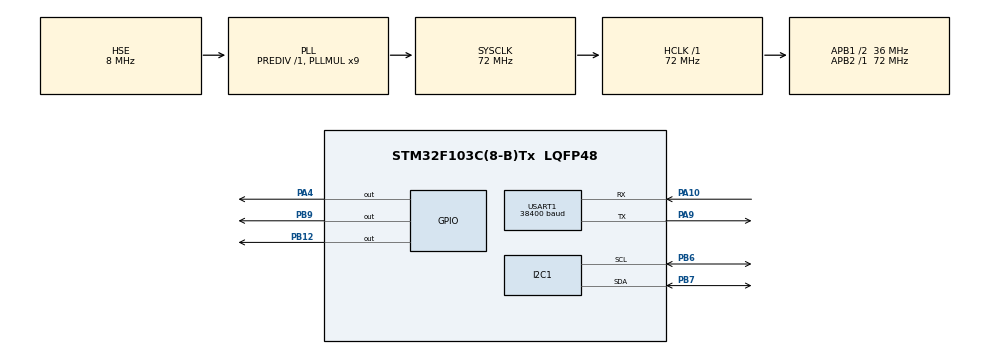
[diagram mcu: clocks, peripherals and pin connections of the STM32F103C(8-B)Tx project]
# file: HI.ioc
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I2C1.I2C_Mode=I2C_Fast
Mcu.Family=STM32F1
Mcu.Name=STM32F103C(8-B)Tx
Mcu.Package=LQFP48
NVIC.PriorityGroup=NVIC_PRIORITYGROUP_4
NVIC.USART1_IRQn=true\:0\:0\:false\:false\:true\:true\:true\:true
PA10.Mode=Asynchronous
PA10.Signal=USART1_RX
PA13.Mode=Serial_Wire
PA13.Signal=SYS_JTMS-SWDIO
PA14.Mode=Serial_Wire
PA14.Signal=SYS_JTCK-SWCLK
PA4.Signal=GPIO_Output
PA9.Mode=Asynchronous
PA9.Signal=USART1_TX
PB12.Signal=GPIO_Output
PB6.Mode=I2C
PB6.Signal=I2C1_SCL
PB7.Mode=I2C
PB7.Signal=I2C1_SDA
PB9.Signal=GPIO_Output
PD0-OSC_IN.Mode=HSE-External-Oscillator
PD0-OSC_IN.Signal=RCC_OSC_IN
PD1-OSC_OUT.Mode=HSE-External-Oscillator
PD1-OSC_OUT.Signal=RCC_OSC_OUT
ProjectManager.HeapSize=0x200
ProjectManager.StackSize=0x400
ProjectManager.TargetToolchain=MDK-ARM V5.32
RCC.AHBFreq_Value=72000000
RCC.APB1CLKDivider=RCC_HCLK_DIV2
RCC.APB1Freq_Value=36000000
RCC.APB1TimFreq_Value=72000000
RCC.APB2Freq_Value=72000000
RCC.APB2TimFreq_Value=72000000
RCC.HCLKFreq_Value=72000000
RCC.PLLMUL=RCC_PLL_MUL9
RCC.PLLSourceVirtual=RCC_PLLSOURCE_HSE
RCC.SYSCLKFreq_VALUE=72000000
RCC.SYSCLKSource=RCC_SYSCLKSOURCE_PLLCLK
RCC.USBFreq_Value=72000000
TIM1.Prescaler=71
USART1.BaudRate=38400
USART1.VirtualMode=VM_ASYNC
VP_TIM1_VS_ClockSourceINT.Mode=Internal
board=custom

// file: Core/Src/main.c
/* USER CODE BEGIN Header */
/**
  ******************************************************************************
  * @file           : main.c
  * @brief          : Main program body
  ******************************************************************************
  * @attention
  *
  * Copyright (c) 2024 STMicroelectronics.
  * All rights reserved.
  *
  * This software is licensed under terms that can be found in the LICENSE file
  * in the root directory of this software component.
  * If no LICENSE file comes with this software, it is provided AS-IS.
  *
  ******************************************************************************
  */
/* USER CODE END Header */
#include "main.h"

/* USER CODE BEGIN Includes */
#include "fonts.h"
#include "ssd1306.h"
#include "stdio.h"
#include "logo.h"
/* USER CODE END Includes */

I2C_HandleTypeDef hi2c1;

TIM_HandleTypeDef htim1;

UART_HandleTypeDef huart1;

void SystemClock_Config(void);
static void MX_GPIO_Init(void);
static void MX_I2C1_Init(void);
static void MX_TIM1_Init(void);
static void MX_USART1_UART_Init(void);

/* USER CODE BEGIN 0 */
#define DHT11_PORT GPIOA
#define DHT11_PIN GPIO_PIN_4
float nhietdo,doam;
uint8_t RHI, RHD, TCI, TCD, SUM;
uint32_t pMillis, cMillis;
float tCelsius = 0;
float tFahrenheit = 0;
float RH = 0;
uint8_t TFI = 0;
uint8_t TFD = 0;
char strCopy[15];

void microDelay (uint16_t delay)
{
  __HAL_TIM_SET_COUNTER(&htim1, 0);
  while (__HAL_TIM_GET_COUNTER(&htim1) < delay);
}

uint8_t DHT11_Start (void)
{
  uint8_t Response = 0;
  GPIO_InitTypeDef GPIO_InitStructPrivate = {0};
  GPIO_InitStructPrivate.Pin = DHT11_PIN;
  GPIO_InitStructPrivate.Mode = GPIO_MODE_OUTPUT_PP;
  GPIO_InitStructPrivate.Speed = GPIO_SPEED_FREQ_LOW;
  GPIO_InitStructPrivate.Pull = GPIO_NOPULL;
  HAL_GPIO_Init(DHT11_PORT, &GPIO_InitStructPrivate); // set the pin as output
  HAL_GPIO_WritePin (DHT11_PORT, DHT11_PIN, 0);   // pull the pin low
  HAL_Delay(20);   // wait for 20ms
  HAL_GPIO_WritePin (DHT11_PORT, DHT11_PIN, 1);   // pull the pin high
  microDelay (30);   // wait for 30us
  GPIO_InitStructPrivate.Mode = GPIO_MODE_INPUT;
  GPIO_InitStructPrivate.Pull = GPIO_PULLUP;
  HAL_GPIO_Init(DHT11_PORT, &GPIO_InitStructPrivate); // set the pin as input
  microDelay (40);
  if (!(HAL_GPIO_ReadPin (DHT11_PORT, DHT11_PIN)))
  {
    microDelay (80);
    if ((HAL_GPIO_ReadPin (DHT11_PORT, DHT11_PIN))) Response = 1;
  }
  pMillis = HAL_GetTick();
  cMillis = HAL_GetTick();
  while ((HAL_GPIO_ReadPin (DHT11_PORT, DHT11_PIN)) && pMillis + 2 > cMillis)
  {
    cMillis = HAL_GetTick();
  }
  return Response;
}

uint8_t DHT11_Read (void)
{
  uint8_t a,b;
  for (a=0;a<8;a++)
  {
    pMillis = HAL_GetTick();
    cMillis = HAL_GetTick();
    while (!(HAL_GPIO_ReadPin (DHT11_PORT, DHT11_PIN)) && pMillis + 2 > cMillis)
    {  // wait for the pin to go high
      cMillis = HAL_GetTick();
    }
    microDelay (40);   // wait for 40 us
    if (!(HAL_GPIO_ReadPin (DHT11_PORT, DHT11_PIN)))   // if the pin is low
      b&= ~(1<<(7-a));
    else
      b|= (1<<(7-a));
    pMillis = HAL_GetTick();
    cMillis = HAL_GetTick();
    while ((HAL_GPIO_ReadPin (DHT11_PORT, DHT11_PIN)) && pMillis + 2 > cMillis)
    {  // wait for the pin to go low
      cMillis = HAL_GetTick();
    }
  }
  return b;
}

void guidulieu() {
	float nhietdo = (float)TCI + (float)(TCD/10.0);
	float doam = (float)RHI + (float)(RHD/10.0);
	float temperature = nhietdo,  humidity = doam ;
    char buff_tx[50];  // T?o b? d?m d? l?n
    int len = snprintf(buff_tx, sizeof(buff_tx), "Temp: %.2f°C, Hum: %.2f%%\r\n", temperature, humidity);

    // gui chuoi qua uart
    HAL_UART_Transmit(&huart1, (uint8_t*)buff_tx, len, HAL_MAX_DELAY);
}

void inraoled()
{
	if(DHT11_Start())
    {
      RHI = DHT11_Read(); // Relative humidity integral
      RHD = DHT11_Read(); // Relative humidity decimal
      TCI = DHT11_Read(); // Celsius integral
      TCD = DHT11_Read(); // Celsius decimal
      SUM = DHT11_Read(); // Check sum
      if (RHI + RHD + TCI + TCD == SUM)
      {
				float nhietdo = (float)TCI + (float)(TCD/10.0);
				float doam = (float)RHI + (float)(RHD/10.0);

        sprintf(strCopy,"Temp: %.2f C   ", nhietdo);
        SSD1306_GotoXY (20, 0);
      SSD1306_Puts (strCopy, &Font_7x10, 1);

       sprintf(strCopy,"Humi: %.2f %%  ", doam);
        SSD1306_GotoXY (20, 20);
        SSD1306_Puts (strCopy, &Font_7x10, 1);
				SSD1306_DrawBitmap(0,35 , logo,128,64,1);

        SSD1306_UpdateScreen();
      }
    }

    HAL_Delay(2000);
}
/* USER CODE END 0 */

int main(void)
{

  /* MCU Configuration--------------------------------------------------------*/

  /* Reset of all peripherals, Initializes the Flash interface and the Systick. */
  HAL_Init();

  /* Configure the system clock */
  SystemClock_Config();

  /* Initialize all configured peripherals */
  MX_GPIO_Init();
  MX_I2C1_Init();
  MX_TIM1_Init();
  MX_USART1_UART_Init();
  /* USER CODE BEGIN 2 */
 HAL_TIM_Base_Start(&htim1);
  SSD1306_Init();
  /* USER CODE END 2 */

  /* Infinite loop */
  /* USER CODE BEGIN WHILE */
  while (1)
  {
		inraoled();
		guidulieu();
    /* USER CODE END WHILE */

  }
}

void SystemClock_Config(void)
{
  RCC_OscInitTypeDef RCC_OscInitStruct = {0};
  RCC_ClkInitTypeDef RCC_ClkInitStruct = {0};

  /** Initializes the RCC Oscillators according to the specified parameters
  * in the RCC_OscInitTypeDef structure.
  */
  RCC_OscInitStruct.OscillatorType = RCC_OSCILLATORTYPE_HSE;
  RCC_OscInitStruct.HSEState = RCC_HSE_ON;
  RCC_OscInitStruct.HSEPredivValue = RCC_HSE_PREDIV_DIV1;
  RCC_OscInitStruct.HSIState = RCC_HSI_ON;
  RCC_OscInitStruct.PLL.PLLState = RCC_PLL_ON;
  RCC_OscInitStruct.PLL.PLLSource = RCC_PLLSOURCE_HSE;
  RCC_OscInitStruct.PLL.PLLMUL = RCC_PLL_MUL9;
  if (HAL_RCC_OscConfig(&RCC_OscInitStruct) != HAL_OK)
  {
    Error_Handler();
  }

  /** Initializes the CPU, AHB and APB buses clocks
  */
  RCC_ClkInitStruct.ClockType = RCC_CLOCKTYPE_HCLK|RCC_CLOCKTYPE_SYSCLK
                              |RCC_CLOCKTYPE_PCLK1|RCC_CLOCKTYPE_PCLK2;
  RCC_ClkInitStruct.SYSCLKSource = RCC_SYSCLKSOURCE_PLLCLK;
  RCC_ClkInitStruct.AHBCLKDivider = RCC_SYSCLK_DIV1;
  RCC_ClkInitStruct.APB1CLKDivider = RCC_HCLK_DIV2;
  RCC_ClkInitStruct.APB2CLKDivider = RCC_HCLK_DIV1;

  if (HAL_RCC_ClockConfig(&RCC_ClkInitStruct, FLASH_LATENCY_2) != HAL_OK)
  {
    Error_Handler();
  }
}

static void MX_I2C1_Init(void)
{

  hi2c1.Instance = I2C1;
  hi2c1.Init.ClockSpeed = 400000;
  hi2c1.Init.DutyCycle = I2C_DUTYCYCLE_2;
  hi2c1.Init.OwnAddress1 = 0;
  hi2c1.Init.AddressingMode = I2C_ADDRESSINGMODE_7BIT;
  hi2c1.Init.DualAddressMode = I2C_DUALADDRESS_DISABLE;
  hi2c1.Init.OwnAddress2 = 0;
  hi2c1.Init.GeneralCallMode = I2C_GENERALCALL_DISABLE;
  hi2c1.Init.NoStretchMode = I2C_NOSTRETCH_DISABLE;
  if (HAL_I2C_Init(&hi2c1) != HAL_OK)
  {
    Error_Handler();
  }

}

static void MX_TIM1_Init(void)
{

  TIM_ClockConfigTypeDef sClockSourceConfig = {0};
  TIM_MasterConfigTypeDef sMasterConfig = {0};

  htim1.Instance = TIM1;
  htim1.Init.Prescaler = 71;
  htim1.Init.CounterMode = TIM_COUNTERMODE_UP;
  htim1.Init.Period = 65535;
  htim1.Init.ClockDivision = TIM_CLOCKDIVISION_DIV1;
  htim1.Init.RepetitionCounter = 0;
  htim1.Init.AutoReloadPreload = TIM_AUTORELOAD_PRELOAD_DISABLE;
  if (HAL_TIM_Base_Init(&htim1) != HAL_OK)
  {
    Error_Handler();
  }
  sClockSourceConfig.ClockSource = TIM_CLOCKSOURCE_INTERNAL;
  if (HAL_TIM_ConfigClockSource(&htim1, &sClockSourceConfig) != HAL_OK)
  {
    Error_Handler();
  }
  sMasterConfig.MasterOutputTrigger = TIM_TRGO_RESET;
  sMasterConfig.MasterSlaveMode = TIM_MASTERSLAVEMODE_DISABLE;
  if (HAL_TIMEx_MasterConfigSynchronization(&htim1, &sMasterConfig) != HAL_OK)
  {
    Error_Handler();
  }

}

static void MX_USART1_UART_Init(void)
{

  huart1.Instance = USART1;
  huart1.Init.BaudRate = 38400;
  huart1.Init.WordLength = UART_WORDLENGTH_8B;
  huart1.Init.StopBits = UART_STOPBITS_1;
  huart1.Init.Parity = UART_PARITY_NONE;
  huart1.Init.Mode = UART_MODE_TX_RX;
  huart1.Init.HwFlowCtl = UART_HWCONTROL_NONE;
  huart1.Init.OverSampling = UART_OVERSAMPLING_16;
  if (HAL_UART_Init(&huart1) != HAL_OK)
  {
    Error_Handler();
  }

}

static void MX_GPIO_Init(void)
{
  GPIO_InitTypeDef GPIO_InitStruct = {0};

  /* GPIO Ports Clock Enable */
  __HAL_RCC_GPIOD_CLK_ENABLE();
  __HAL_RCC_GPIOA_CLK_ENABLE();
  __HAL_RCC_GPIOB_CLK_ENABLE();

  /*Configure GPIO pin Output Level */
  HAL_GPIO_WritePin(GPIOA, GPIO_PIN_4, GPIO_PIN_RESET);

  /*Configure GPIO pin Output Level */
  HAL_GPIO_WritePin(GPIOB, GPIO_PIN_12|GPIO_PIN_9, GPIO_PIN_RESET);

  /*Configure GPIO pin : PA4 */
  GPIO_InitStruct.Pin = GPIO_PIN_4;
  GPIO_InitStruct.Mode = GPIO_MODE_OUTPUT_PP;
  GPIO_InitStruct.Pull = GPIO_NOPULL;
  GPIO_InitStruct.Speed = GPIO_SPEED_FREQ_LOW;
  HAL_GPIO_Init(GPIOA, &GPIO_InitStruct);

  /*Configure GPIO pins : PB12 PB9 */
  GPIO_InitStruct.Pin = GPIO_PIN_12|GPIO_PIN_9;
  GPIO_InitStruct.Mode = GPIO_MODE_OUTPUT_PP;
  GPIO_InitStruct.Pull = GPIO_NOPULL;
  GPIO_InitStruct.Speed = GPIO_SPEED_FREQ_LOW;
  HAL_GPIO_Init(GPIOB, &GPIO_InitStruct);

}

void Error_Handler(void)
{
  __disable_irq();
  while (1)
  {
  }
}
